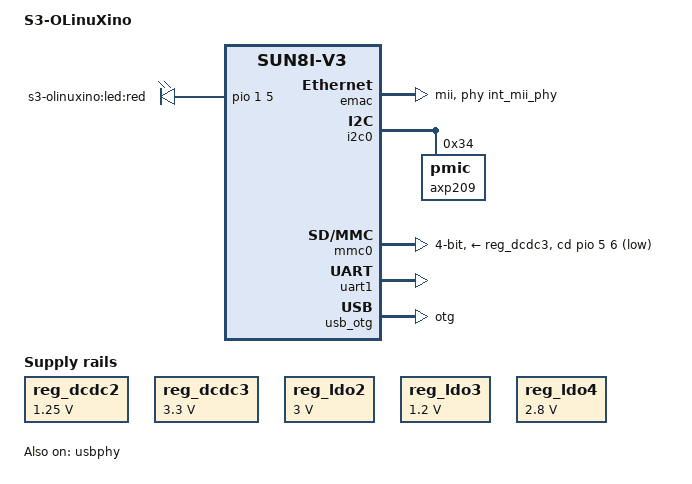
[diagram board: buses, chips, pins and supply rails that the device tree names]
/dts-v1/;
#include "sun8i-v3.dtsi"
#include <dt-bindings/gpio/gpio.h>

/ {
	model = "S3-OLinuXino";
	compatible = "olimex,s3-olinuxino", "allwinner,sun8i-s3",
		     "allwinner,sun8i-v3";

	aliases {
		serial0 = &uart1;
	};

	chosen {
		stdout-path = "serial0:115200n8";
	};

	leds {
		compatible = "gpio-leds";

		led-red {
			label = "s3-olinuxino:led:red";
			gpios = <&pio 1 5 GPIO_ACTIVE_HIGH>; /* PB5 */
		};
	};
};

&emac {
	phy-handle = <&int_mii_phy>;
	phy-mode = "mii";
	status = "okay";
};

&i2c0 {
	status = "okay";

	axp209: pmic@34 {
		reg = <0x34>;
		interrupt-parent = <&nmi_intc>;
		interrupts = <0 IRQ_TYPE_LEVEL_LOW>;
	};
};



&mmc0 {
	vmmc-supply = <&reg_dcdc3>;
	bus-width = <4>;
	cd-gpios = <&pio 5 6 GPIO_ACTIVE_LOW>; /* PF6 */
	status = "okay";
};

&pio {
	vcc-pd-supply = <&reg_dcdc3>;
	vcc-pe-supply = <&reg_dcdc3>;
};

#include "axp209.dtsi"

/* XXX: check if usb or ac is used. */
&ac_power_supply {
	status = "okay";
};

&battery_power_supply {
	status = "okay";
};

&reg_dcdc2 {
	regulator-always-on;
	regulator-min-microvolt = <1250000>;
	regulator-max-microvolt = <1250000>;
	regulator-name = "vdd-sys-cpu-ephy";
};

&reg_dcdc3 {
	regulator-always-on;
	regulator-min-microvolt = <3300000>;
	regulator-max-microvolt = <3300000>;
	regulator-name = "vcc-3v3";
};

&reg_ldo1 {
	regulator-name = "vdd-rtc";
};

&reg_ldo2 {
	regulator-always-on;
	regulator-min-microvolt = <3000000>;
	regulator-max-microvolt = <3000000>;
	regulator-name = "avcc";
};

&reg_ldo3 {
	regulator-min-microvolt = <1200000>;
	regulator-max-microvolt = <1200000>;
	regulator-name = "dvdd-1v2-csi";
};

&reg_ldo4 {
	regulator-min-microvolt = <2800000>;
	regulator-max-microvolt = <2800000>;
	regulator-name = "avdd-dovdd-2v8-csi";
};

/* XXX: check if usb or ac is used. */
&usb_power_supply {
	status = "okay";
};

&uart1 {
	pinctrl-0 = <&uart1_pg_pins>;
	pinctrl-names = "default";
	status = "okay";
};

&usb_otg {
	dr_mode = "otg";
	status = "okay";
};

&usbphy {
	usb0_id_det-gpios = <&pio 6 9 GPIO_ACTIVE_HIGH>; /* PG9 */
	usb0_vbus_det-gpios = <&pio 1 10 GPIO_ACTIVE_HIGH>; /* PB10 */
	/* usb0_vbus-supply = <&reg_usb0_vbus>; */ /* TODO: from AXP */
	status = "okay";
};
